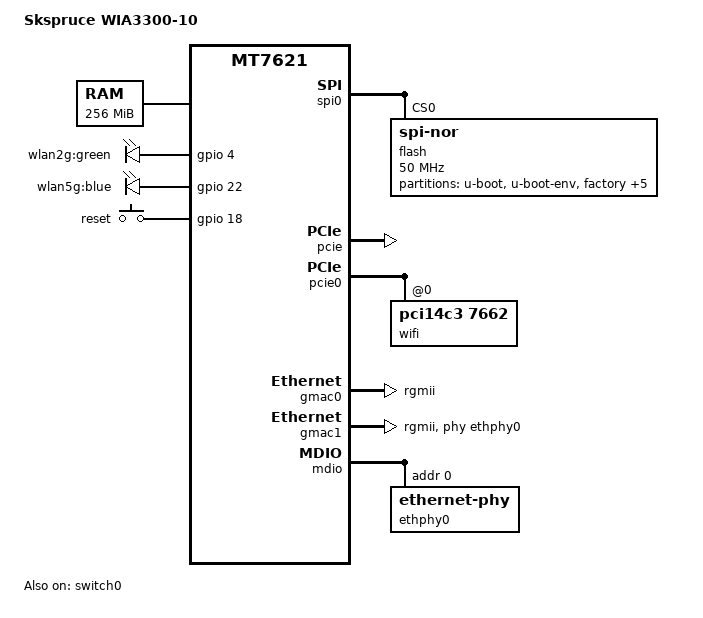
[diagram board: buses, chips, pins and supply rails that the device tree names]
// SPDX-License-Identifier: GPL-2.0-or-later OR MIT
/* Skspruce WIA3300-10 (MT7621AT + MT7615DN) */

#include "mt7621.dtsi"
#include <dt-bindings/gpio/gpio.h>
#include <dt-bindings/input/input.h>
#include <dt-bindings/leds/common.h>

/ {
        compatible = "skspruce,wia3300-10", "mediatek,mt7621-soc";
        model = "Skspruce WIA3300-10";

        aliases {
                /* 系统LED状态别名 */
                led-boot = &led_boot;      // 启动状态 -> 红色LED
                led-failsafe = &led_boot;
                led-running = &led_power;  // 运行状态 -> 绿色LED (心跳模式)
                led-upgrade = &led_boot;
                ethernet0 = &gmac0;
                ethernet1 = &gmac1;
        };

        chosen {
                bootargs = "console=ttyS0,115200";
        };

        /* 256MB DDR3 RAM */
        memory@0 {
                device_type = "memory";
                reg = <0x0 0x10000000>;
        };

leds {
    compatible = "gpio-leds";

    /* ... 其他LED（boot, power, wan）定义保持不变 ... */

    /* 双色无线LED - 绿色部分：关联到2.4G射频 (phy0) */
    wlan2g_green {
        label = "wlan2g:green";
        gpios = <&gpio 4 GPIO_ACTIVE_HIGH>;
        /* 关键：添加默认触发器，让驱动自动管理 */
        linux,default-trigger = "phy0tpt";
    };

    /* 双色无线LED - 蓝色部分：关联到5G射频 (phy1) */
    wlan5g_blue {
        label = "wlan5g:blue";
        gpios = <&gpio 22 GPIO_ACTIVE_HIGH>;
        /* 关键：添加默认触发器，让驱动自动管理 */
        linux,default-trigger = "phy1tpt";
    };
};

        keys {
                compatible = "gpio-keys";

                /* 复位按键 (GPIO 18, 高电平有效) */
                reset {
                        label = "reset";
                        gpios = <&gpio 18 GPIO_ACTIVE_HIGH>;
                        linux,code = <KEY_RESTART>;
                };
        };
};

&spi0 {
        status = "okay";

        flash@0 {
                compatible = "jedec,spi-nor";
                reg = <0>;
                spi-max-frequency = <50000000>;

                partitions {
                        compatible = "fixed-partitions";
                        #address-cells = <1>;
                        #size-cells = <1>;

                        /* 严格遵循原厂MTD分区布局 */
                        partition@0 {
                                label = "u-boot";
                                reg = <0x000000 0x030000>;
                                read-only;
                        };

                        partition@30000 {
                                label = "u-boot-env";
                                reg = <0x030000 0x010000>;
                                read-only;
                        };

                        /* Factory分区：包含无线校准数据与MAC地址 */
                        partition@40000 {
                                label = "factory";
                                reg = <0x040000 0x010000>;
                                read-only;

                                nvmem-layout {
                                        compatible = "fixed-layout";
                                        #address-cells = <1>;
                                        #size-cells = <1>;

                                        /* MT7615DN EEPROM数据 */
                                        eeprom_factory_0: eeprom@0 {
                                                reg = <0x0 0x4da8>;
                                        };

                                        /* MAC地址偏移 (请根据原厂factory内容最终确认) */
                                        macaddr_factory_4: macaddr@4 {
                                                reg = <0x4 0x6>;
                                        };
                                        macaddr_factory_e000: macaddr@e000 {
                                                reg = <0xe000 0x6>;
                                        };
                                        macaddr_factory_e006: macaddr@e006 {
                                                reg = <0xe006 0x6>;
                                        };
                                };
                        };

                        partition@50000 {
                                label = "u-boot-backup";
                                reg = <0x050000 0x030000>;
                                read-only;
                        };

                        /* 主固件分区 (OpenWrt将刷写于此) */
                        partition@80000 {
                                compatible = "denx,uimage";
                                label = "firmware";
                                reg = <0x080000 0xf00000>;
                        };

                        /* 以下为原厂保留分区，OpenWrt通常不占用 */
                        partition@1000000 {
                                label = "firmware_backup";
                                reg = <0x1000000 0xf00000>;
                                read-only;
                        };
                        partition@1f00000 {
                                label = "boardinfo";
                                reg = <0x1f00000 0x010000>;
                                read-only;
                        };
                        partition@1f10000 {
                                label = "rebootcause";
                                reg = <0x1f10000 0x010000>;
                                read-only;
                        };
                };
        };
};

&pcie {
        status = "okay";
        bus-range = <0 255>;
        ranges;
};

&pcie0 {
        status = "okay";

        /* MT7615DN 5G WiFi */
        wifi@0,0 {
                reg = <0x0000 0 0 0 0>;
                compatible = "pci14c3,7662";
                nvmem-cells = <&eeprom_factory_0>, <&macaddr_factory_e006>;
                nvmem-cell-names = "eeprom", "mac-address";
                ieee80211-freq-limit = <5000000 6000000>;
        };
};

/* 网络交换芯片配置 - 端口顺序: W L L L L */
&switch0 {
        status = "okay";

        ports {
                #address-cells = <1>;
                #size-cells = <0>;

                port@0 {
                        reg = <0>;
                        label = "wan";
                        phy-mode = "rgmii";
                        phy-handle = <&ethphy0>;
                };

                port@1 {
                        reg = <1>;
                        label = "lan1";
                };

                port@2 {
                        reg = <2>;
                        label = "lan2";
                };

                port@3 {
                        reg = <3>;
                        label = "lan3";
                };

                port@4 {
                        reg = <4>;
                        label = "lan4";
                };

                /* CPU端口 */
                port@6 {
                        reg = <6>;
                        label = "cpu";
                        ethernet = <&gmac0>;
                        phy-mode = "rgmii";

                        fixed-link {
                                speed = <1000>;
                                full-duplex;
                                pause;
                        };
                };
        };
};

&gmac0 {
        status = "okay";
        nvmem-cells = <&macaddr_factory_4>;
        nvmem-cell-names = "mac-address";
        phy-mode = "rgmii";
};

&gmac1 {
        status = "okay";
        nvmem-cells = <&macaddr_factory_e000>;
        nvmem-cell-names = "mac-address";
        phy-mode = "rgmii";
        phy-handle = <&ethphy0>;
        label = "wan";
};

&mdio {
        ethphy0: ethernet-phy@0 {
                reg = <0>;
                phy-mode = "rgmii";
        };
};

&state_default {
        gpio {
                groups = "i2c", "jtag", "uart2", "uart3";
                function = "gpio";
        };
};
